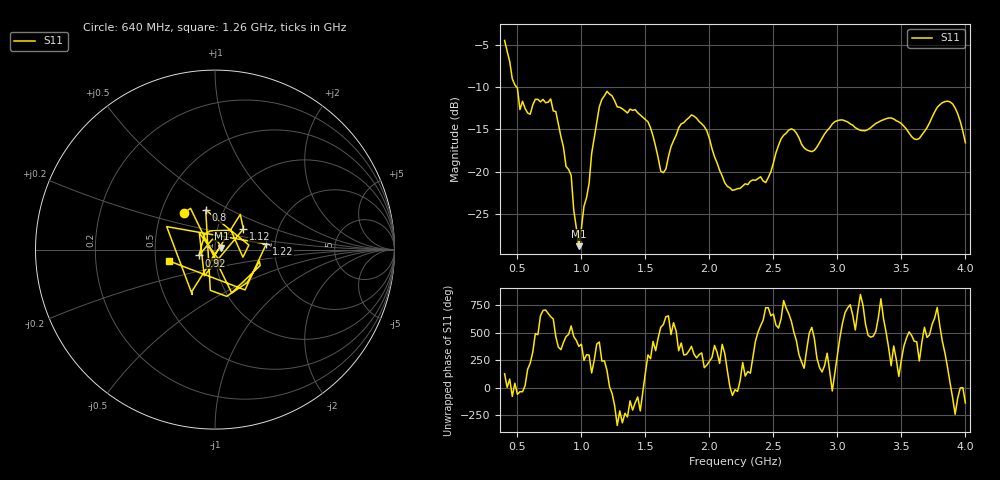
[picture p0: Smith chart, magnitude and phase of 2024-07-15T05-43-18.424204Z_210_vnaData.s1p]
!Created with skrf (http://scikit-rf.org).
# Hz S RI R 50.0
!freq ReS11 ImS11
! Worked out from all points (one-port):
!   181 points, 400 MHz to 4 GHz, reference 50 ohm
!   lowest |S11| = -28.8 dB at 980 MHz (marker M1), VSWR 1.08, Z = 53.7 + j0.971 ohm
!   |S11| at or under -10 dB: 493.1 MHz to end of sweep
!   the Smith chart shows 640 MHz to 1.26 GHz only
!   S11 on the Smith chart (normalised r, x): 640 MHz: 0.66, +0.29; 800 MHz: 0.82, +0.38; 920 MHz: 0.83, -0.05; 1.12 GHz: 1.33, +0.32; 1.22 GHz: 1.79, +0.12; 1.26 GHz: 0.59, -0.08
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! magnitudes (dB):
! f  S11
! 400 MHz  -4.5
! 520 MHz  -12.7
! 640 MHz  -11.5
! 800 MHz  -12.9
! 860 MHz  -17.1
! 920 MHz  -20.4
! 980 MHz  -28.8
! 1.12 GHz  -14.2
! 1.22 GHz  -10.8
! 1.26 GHz  -11.6
! 1.3 GHz  -12.4
! 1.52 GHz  -14.1
! 1.64 GHz  -20.1
! 1.76 GHz  -14.8
! 1.96 GHz  -14.7
! 2.12 GHz  -21.3
! 2.2 GHz  -22.1
! 2.44 GHz  -21.3
! 2.56 GHz  -16.1
! 2.66 GHz  -15.1
! 2.8 GHz  -17.6
! 2.98 GHz  -14.1
! 3.1 GHz  -14.3
! 3.42 GHz  -13.7
! 3.56 GHz  -15.4
! 3.64 GHz  -16.1
! 3.86 GHz  -11.7
! 4 GHz  -16.6
